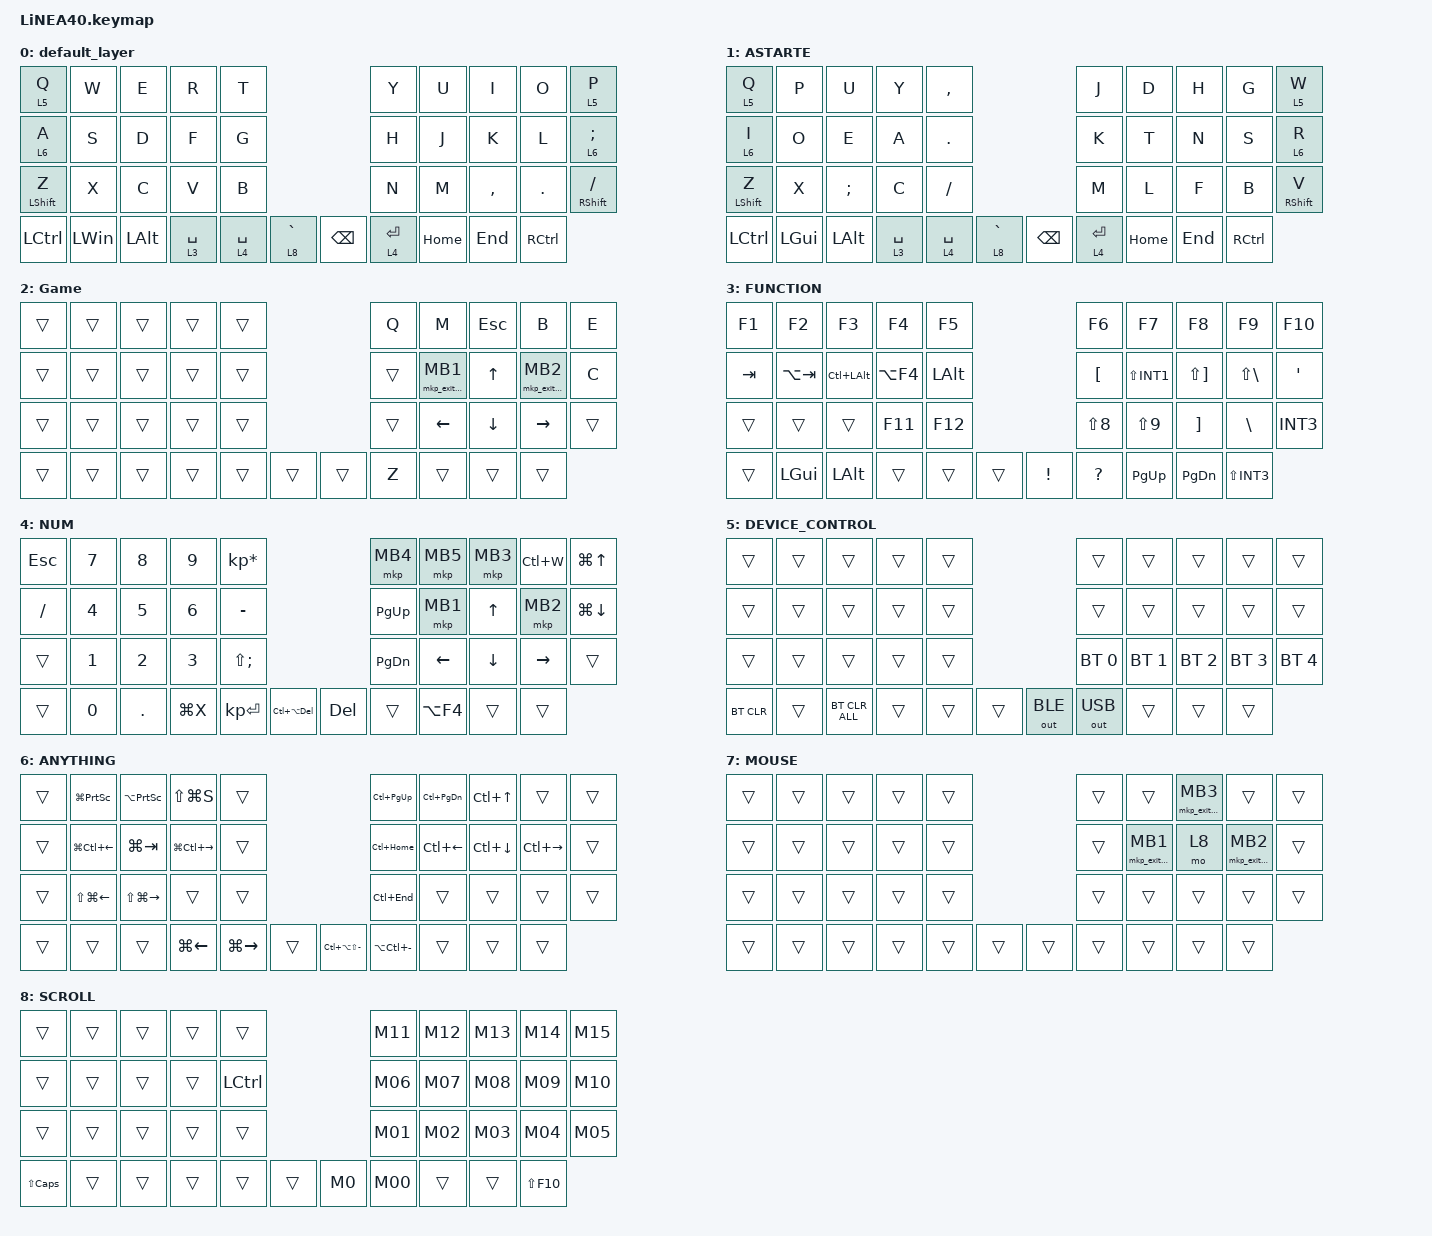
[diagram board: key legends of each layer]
#include <dt-bindings/zmk/input_transform.h>
#include <input/processors.dtsi>
#include <zephyr/dt-bindings/input/input-event-codes.h>
#include <behaviors.dtsi>
#include <dt-bindings/zmk/bt.h>
#include <dt-bindings/zmk/keys.h>
#include <dt-bindings/zmk/outputs.h>
#include <dt-bindings/zmk/pointing.h>

#define DEFAULT 0
#define ASTARTE 1
#define Game 2
#define FUNCTION 3
#define NUM 4
#define D_CON 5
#define ANY 6
#define MOUSE 7
#define SCROLL 8
#define ZMK_POINTING_DEFAULT_SCRL_VAL 100

&sl { release-after-ms = <180>; }; // ダブルクリックに必要な時間を設定
&mt {
    flavor = "balanced";
    quick-tap-ms = <0>;
};

//mouse cursol

&mmv {
    delay-ms = <20>;
    trigger-period-ms = <5>;
    time-to-max-speed-ms = <100>;
    acceleration-exponent = <2>;
};

//mouse scroll

&msc {
    delay-ms = <3>;
    trigger-period-ms = <3>;
    time-to-max-speed-ms = <100>;
    acceleration-exponent = <0>;
};

/ {
    input_processors {
        zip_wheel_scaler: zip_wheel_scaler {
            compatible = "zmk,input-processor-scaler";
            #input-processor-cells = <2>;
            type = <INPUT_EV_REL>;
            codes = <INPUT_REL_WHEEL INPUT_REL_HWHEEL>;
            track-remainders;
        };
    };
};

&trackball_listener {
    scroller {
        layers = <SCROLL>;
        input-processors =
            <&zip_xy_transform INPUT_TRANSFORM_Y_INVERT>,
            //スクロール方向を逆転,,,,,,,,,,
            <&zip_xy_to_scroll_mapper>,
            //スクロールスピードの調整。カーソル速度の1/3,,,,,,,
            <&zip_wheel_scaler 1 3>;
    };
};

/ {
    combos {
        compatible = "zmk,combos";

        Copy {
            bindings = <&kp LC(C)>;
            key-positions = <26 27>;
        };

        Paste {
            bindings = <&kp LC(V)>;
            key-positions = <27 28>;
        };

        Cut {
            bindings = <&kp LC(X)>;
            key-positions = <26 28>;
        };

        Save {
            bindings = <&kp LC(S)>;
            key-positions = <11 12>;
        };

        Find {
            bindings = <&kp LC(F)>;
            key-positions = <12 13>;
        };

        Undo {
            bindings = <&kp LC(Z)>;
            key-positions = <21 22>;
        };

        Redo {
            bindings = <&kp LC(Y)>;
            key-positions = <22 23>;
        };

        Tilde {
            bindings = <&kp LS(EQUAL)>;
            key-positions = <6 7>;
        };

        Minus {
            bindings = <&kp MINUS>;
            key-positions = <7 8>;
        };

        Explorer {
            bindings = <&kp LG(E)>;
            key-positions = <2 13>;
        };

        Esc {
            bindings = <&kp ESCAPE>;
            key-positions = <11 13>;
        };

        tog_ASTARTE {
            bindings = <&tog 1>;
            key-positions = <30 40>;
        };

        Clipboard {
            bindings = <&kp LG(V)>;
            key-positions = <26 27 28>;
        };

        tog_Game {
            bindings = <&tog 2>;
            key-positions = <31 40>;
        };

        Back {
            bindings = <&kp LA(LEFT_ARROW)>;
            key-positions = <16 17>;
        };

        Forward {
            bindings = <&kp LA(RIGHT_ARROW)>;
            key-positions = <17 18>;
        };
    };

    macros {
        to_layer_0: to_layer_0 {
            compatible = "zmk,behavior-macro-one-param";
            #binding-cells = <1>;
            bindings = <&to 0 &macro_param_1to1 &kp MACRO_PLACEHOLDER>;
            label = "TO_LAYER_0";
        };

        M0: M0 {
            compatible = "zmk,behavior-macro";
            #binding-cells = <0>;
            bindings = <&none>;
            label = "M0";
        };

        M00: M00 {
            compatible = "zmk,behavior-macro";
            #binding-cells = <0>;
            bindings = <&none>;
            label = "M00";
        };

        M01: M01 {
            compatible = "zmk,behavior-macro";
            #binding-cells = <0>;
            bindings = <&kp LS(A) &kp V &kp E &kp N &kp G &kp E &kp D &kp N4 &kp N8 &kp LS(F) &kp O &kp L &kp D &kp ENTER>;
            label = "M01";
        };

        M02: M02 {
            compatible = "zmk,behavior-macro";
            #binding-cells = <0>;
            bindings = <&kp LS(A) &kp V &kp E &kp N &kp G &kp E &kp D &kp N9 &kp N5 &kp LS(F) &kp O &kp L &kp D &kp ENTER>;
            label = "M02";
        };

        M03: M03 {
            compatible = "zmk,behavior-macro";
            #binding-cells = <0>;
            bindings = <&kp LS(A) &kp V &kp E &kp N &kp G &kp E &kp D &kp N1 &kp LS(F) &kp O &kp L &kp D &kp ENTER>;
            label = "M03";
        };

        M04: M04 {
            compatible = "zmk,behavior-macro";
            #binding-cells = <0>;
            bindings = <&kp LS(A) &kp V &kp E &kp N &kp G &kp E &kp D &kp N2 &kp LS(F) &kp O &kp L &kp D &kp ENTER>;
            label = "M04";
        };

        M05: M05 {
            compatible = "zmk,behavior-macro";
            #binding-cells = <0>;
            bindings = <&kp LS(A) &kp V &kp E &kp N &kp G &kp E &kp D &kp N3 &kp LS(F) &kp O &kp L &kp D &kp RET>;
            label = "M05";
        };

        M06: M06 {
            compatible = "zmk,behavior-macro";
            #binding-cells = <0>;
            bindings = <&kp LS(K) &kp LS(D) &kp E &kp V &kp LEFT_BRACKET &kp N2 &kp N3 &kp N1 &kp N0 &kp ENTER>;
            label = "M06";
        };

        M07: M07 {
            compatible = "zmk,behavior-macro";
            #binding-cells = <0>;
            bindings = <&kp LS(M) &kp C &kp O &kp N2 &kp N0 &kp N2 &kp N3 &kp N1 &kp N0 &kp EXCL &kp ENTER>;
            label = "M07";
        };

        M08: M08 {
            compatible = "zmk,behavior-macro";
            #binding-cells = <0>;
            bindings = <&kp LS(D) &kp T &kp C &kp N2 &kp K &kp A &kp N &kp P &kp O &kp LS(INTERNATIONAL_1) &kp N2 &kp N0 &kp N2 &kp N4 &kp LS(INTERNATIONAL_1) &kp EXCL &kp POUND &kp ENTER>;
            label = "M08";
        };

        M09: M09 {
            compatible = "zmk,behavior-macro";
            #binding-cells = <0>;
            bindings = <&none>;
            label = "M09";
        };

        M10: M10 {
            compatible = "zmk,behavior-macro";
            #binding-cells = <0>;
            bindings = <&kp LS(K) &kp A &kp M &kp P &kp O &kp S &kp O &kp L &kp N2 &kp N0 &kp N1 &kp N7 &kp ENTER>;
            label = "M10";
        };

        M11: M11 {
            compatible = "zmk,behavior-macro";
            #binding-cells = <0>;
            bindings = <&kp LS(A) &kp V &kp E &kp N &kp G &kp E &kp D &kp N1 &kp LS(F) &kp O &kp L &kp D &kp LEFT_BRACKET>;
            label = "M11";
        };

        M12: M12 {
            compatible = "zmk,behavior-macro";
            #binding-cells = <0>;
            bindings = <&kp LS(A) &kp V &kp E &kp N &kp G &kp E &kp D &kp N2 &kp LS(F) &kp O &kp L &kp D &kp LEFT_BRACKET>;
            label = "M12";
        };

        M13: M13 {
            compatible = "zmk,behavior-macro";
            #binding-cells = <0>;
            bindings = <&none>;
            label = "M13";
        };

        M14: M14 {
            compatible = "zmk,behavior-macro";
            #binding-cells = <0>;
            bindings = <&none>;
            label = "M14";
        };

        M15: M15 {
            compatible = "zmk,behavior-macro";
            #binding-cells = <0>;
            bindings = <&kp LS(D) &kp LS(G) &kp KP_ASTERISK &kp K &kp LS(SEMICOLON) &kp N &kp N4 &kp C &kp W &kp N4 &kp LS(R) &kp LS(D)>;
            label = "M15";
        };

        mkp_exit_AML: mkp_exit_AML {
            compatible = "zmk,behavior-macro-one-param";
            #binding-cells = <1>;
            bindings =
                <&macro_press>,
                <&macro_param_1to1 &mkp MACRO_PLACEHOLDER>,
                <&macro_pause_for_release>,
                <&macro_release>,
                <&macro_param_1to1 &mkp MACRO_PLACEHOLDER>,
                <&macro_tap>,
                <&sl MOUSE>;

            label = "MKP_EXIT_AML";
        };
    };

    behaviors {
        re_kp: sensor_rotate_kp {
            compatible = "zmk,behavior-sensor-rotate-var";
            #sensor-binding-cells = <2>;
            bindings = <&kp>, <&kp>;
        };

        mouse_scrl: mouse_wheel_scrl {
            compatible = "zmk,behavior-sensor-rotate-var";
            #sensor-binding-cells = <2>;
            bindings = <&msc>, <&msc>;

            tap-ms = <20>;
        };
    };

    keymap {
        compatible = "zmk,keymap";

        default_layer {
            bindings = <
&lt 5 Q           &kp W         &kp E         &kp R        &kp T                                      &kp Y        &kp U  &kp I      &kp O    &lt 5 P
&lt 6 A           &kp S         &kp D         &kp F        &kp G                                      &kp H        &kp J  &kp K      &kp L    &lt 6 SEMICOLON
&mt LEFT_SHIFT Z  &kp X         &kp C         &kp V        &kp B                                      &kp N        &kp M  &kp COMMA  &kp DOT  &mt RIGHT_SHIFT SLASH
&kp LCTRL         &kp LEFT_WIN  &kp LEFT_ALT  &lt 3 SPACE  &lt 4 SPACE  &lt 8 GRAVE    &kp BACKSPACE  &lt 4 ENTER         &kp HOME   &kp END  &kp RCTRL
            >;
        };

        ASTARTE {
            bindings = <
&lt 5 Q           &kp P         &kp U          &kp Y        &kp COMMA                                  &kp J        &kp D  &kp H     &kp G    &lt 5 W
&lt 6 I           &kp O         &kp E          &kp A        &kp PERIOD                                 &kp K        &kp T  &kp N     &kp S    &lt 6 R
&mt LEFT_SHIFT Z  &kp X         &kp SEMICOLON  &kp C        &kp SLASH                                  &kp M        &kp L  &kp F     &kp B    &mt RIGHT_SHIFT V
&kp LCTRL         &kp LEFT_GUI  &kp LEFT_ALT   &lt 3 SPACE  &lt 4 SPACE  &lt 8 GRAVE    &kp BACKSPACE  &lt 4 ENTER         &kp HOME  &kp END  &kp RCTRL
            >;
        };

        Game {
            bindings = <
&trans  &trans  &trans  &trans  &trans                    &kp Q   &kp M              &kp ESCAPE      &kp B              &kp E
&trans  &trans  &trans  &trans  &trans                    &trans  &mkp_exit_AML MB1  &kp UP_ARROW    &mkp_exit_AML MB2  &kp C
&trans  &trans  &trans  &trans  &trans                    &trans  &kp LEFT_ARROW     &kp DOWN_ARROW  &kp RIGHT_ARROW    &trans
&trans  &trans  &trans  &trans  &trans  &trans    &trans  &kp Z                      &trans          &trans             &trans
            >;
        };

        FUNCTION {
            bindings = <
&kp F1   &kp F2        &kp F3            &kp F4      &kp F5                                   &kp F6            &kp F7        &kp F8                 &kp F9             &kp F10
&kp TAB  &kp LA(TAB)   &kp LC(LEFT_ALT)  &kp LA(F4)  &kp LEFT_ALT                             &kp LEFT_BRACKET  &kp LS(INT1)  &kp LS(RIGHT_BRACKET)  &kp LS(BACKSLASH)  &kp SINGLE_QUOTE
&trans   &trans        &trans            &kp F11     &kp F12                                  &kp LS(N8)        &kp LS(N9)    &kp RIGHT_BRACKET      &kp BACKSLASH      &kp INT3
&trans   &kp LEFT_GUI  &kp LEFT_ALT      &trans      &trans        &trans    &kp EXCLAMATION  &kp QUESTION                    &kp PAGE_UP            &kp PAGE_DOWN      &kp LS(INT3)
            >;
        };

        NUM {
            bindings = <
&kp ESCAPE  &kp NUMBER_7  &kp NUMBER_8  &kp NUMBER_9  &kp KP_ASTERISK                                      &mkp MB4       &mkp MB5        &mkp MB3        &kp LC(W)        &kp LG(UP_ARROW)
&kp SLASH   &kp NUMBER_4  &kp NUMBER_5  &kp NUMBER_6  &kp MINUS                                            &kp PAGE_UP    &mkp MB1        &kp UP_ARROW    &mkp MB2         &kp LG(DOWN_ARROW)
&trans      &kp NUMBER_1  &kp NUMBER_2  &kp NUMBER_3  &kp LS(SEMICOLON)                                    &kp PAGE_DOWN  &kp LEFT_ARROW  &kp DOWN_ARROW  &kp RIGHT_ARROW  &trans
&trans      &kp NUMBER_0  &kp DOT       &kp LG(X)     &kp KP_ENTER       &kp LC(LA(DELETE))    &kp DELETE  &trans                         &kp LA(F4)      &trans           &trans
            >;
        };

        DEVICE_CONTROL {
            bindings = <
&trans      &trans  &trans          &trans  &trans                          &trans        &trans        &trans        &trans        &trans
&trans      &trans  &trans          &trans  &trans                          &trans        &trans        &trans        &trans        &trans
&trans      &trans  &trans          &trans  &trans                          &bt BT_SEL 0  &bt BT_SEL 1  &bt BT_SEL 2  &bt BT_SEL 3  &bt BT_SEL 4
&bt BT_CLR  &trans  &bt BT_CLR_ALL  &trans  &trans  &trans    &out OUT_BLE  &out OUT_USB                &trans        &trans        &trans
            >;
        };

        ANYTHING {
            bindings = <
&trans  &kp LG(PRINTSCREEN)     &kp LA(PRINTSCREEN)      &kp LS(LG(S))      &trans                                          &kp LC(PAGE_UP)    &kp LC(PAGE_DOWN)   &kp LC(UP_ARROW)    &trans               &trans
&trans  &kp LG(LC(LEFT))        &kp LG(TAB)              &kp LG(LC(RIGHT))  &trans                                          &kp LC(HOME)       &kp LC(LEFT_ARROW)  &kp LC(DOWN_ARROW)  &kp LC(RIGHT_ARROW)  &trans
&trans  &kp LS(LG(LEFT_ARROW))  &kp LS(LG(RIGHT_ARROW))  &trans             &trans                                          &kp LC(END)        &trans              &trans              &trans               &trans
&trans  &trans                  &trans                   &kp LG(LEFT)       &kp LG(RIGHT)  &trans    &kp LC(LA(LS(MINUS)))  &kp LA(LC(MINUS))                      &trans              &trans               &trans
            >;
        };

        MOUSE {
            bindings = <
&trans  &trans  &trans  &trans  &trans                    &trans  &trans             &mkp_exit_AML MB3  &trans             &trans
&trans  &trans  &trans  &trans  &trans                    &trans  &mkp_exit_AML MB1  &mo 8              &mkp_exit_AML MB2  &trans
&trans  &trans  &trans  &trans  &trans                    &trans  &trans             &trans             &trans             &trans
&trans  &trans  &trans  &trans  &trans  &trans    &trans  &trans                     &trans             &trans             &trans
            >;
        };

        SCROLL {
            bindings = <
&trans            &trans  &trans  &trans  &trans                    &M11  &M12  &M13    &M14    &M15
&trans            &trans  &trans  &trans  &kp LCTRL                 &M06  &M07  &M08    &M09    &M10
&trans            &trans  &trans  &trans  &trans                    &M01  &M02  &M03    &M04    &M05
&kp LS(CAPSLOCK)  &trans  &trans  &trans  &trans     &trans    &M0  &M00        &trans  &trans  &kp LS(F10)
            >;
        };
    };
};
